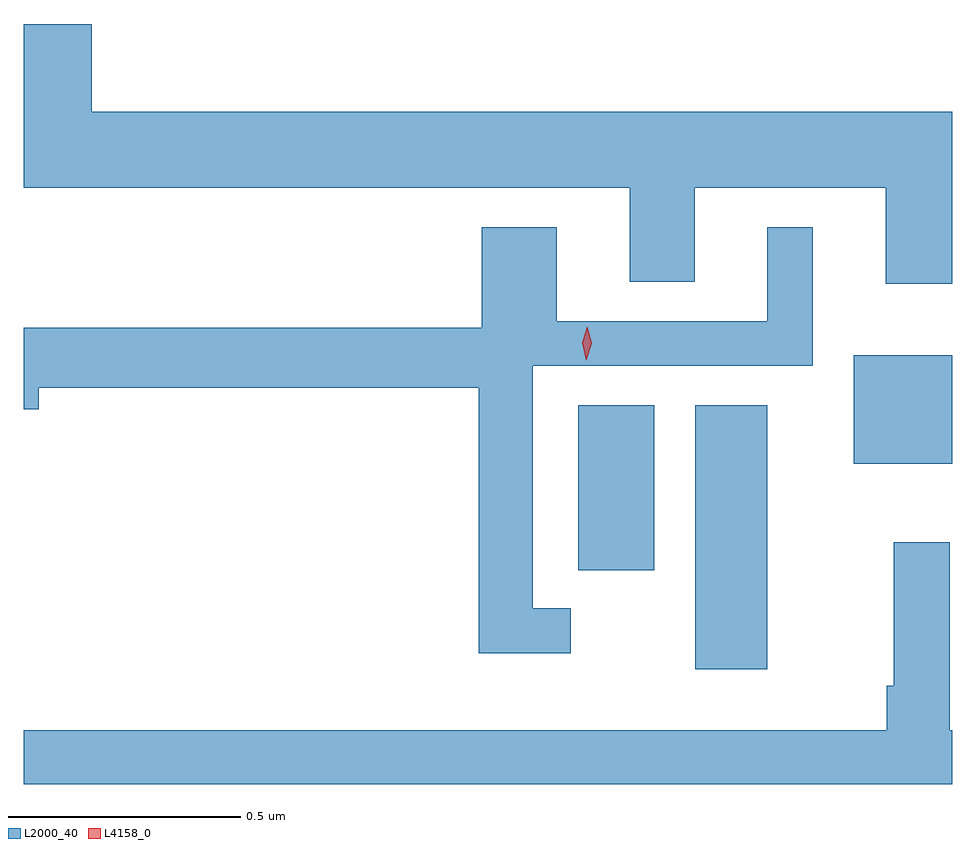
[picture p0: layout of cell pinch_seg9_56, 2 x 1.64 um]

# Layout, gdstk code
import gdstk
lib = gdstk.Library(unit=1e-6, precision=1e-09)
def R(c, l, rs):  # rectangles x0, y0, x1, y1
    for r in rs: c.add(gdstk.rectangle(r[:2], r[2:], *l))
def P(c, l, *ps):  # polygons
    for p in ps: c.add(gdstk.Polygon(p, *l))
L2000_40 = (2000, 40)
L4158_0 = (4158, 0)

pinch_seg9_56 = lib.new_cell('pinch_seg9_56')
R(pinch_seg9_56, L2000_40, [(969.668,1164.747,969.823,1165.316), (969.416,1164.96,969.58,1165.316), (970.01,1165.19,970.222,1165.423)])
P(pinch_seg9_56, L2000_40, [(970.222,1165.948),(968.368,1165.948),(968.368,1166.137),(968.222,1166.137),(968.222,1165.784),(969.527,1165.784),(969.527,1165.582),(969.667,1165.582),(969.667,1165.784),(970.079,1165.784),(970.079,1165.578),(970.222,1165.578)],
  [(969.4,1164.879),(969.318,1164.879),(969.318,1165.401),(969.922,1165.401),(969.922,1165.699),(969.824,1165.699),(969.824,1165.497),(969.37,1165.497),(969.37,1165.699),(969.209,1165.699),(969.209,1165.483),(968.222,1165.483),(968.222,1165.307),(968.254,1165.307),(968.254,1165.354),(969.202,1165.354),(969.202,1164.782),(969.4,1164.782)],
  [(970.096,1165.021),(970.096,1164.712),(970.081,1164.712),(970.081,1164.616),(968.222,1164.616),(968.222,1164.5),(970.222,1164.5),(970.222,1164.616),(970.217,1164.616),(970.217,1165.021)])
P(pinch_seg9_56, L4158_0, [(969.434,1165.413),(969.434,1165.413),(969.425,1165.45),(969.436,1165.485),(969.436,1165.485),(969.436,1165.485),(969.445,1165.449),(969.434,1165.413)])

lib.write_gds('pinch_seg9_56.gds')
